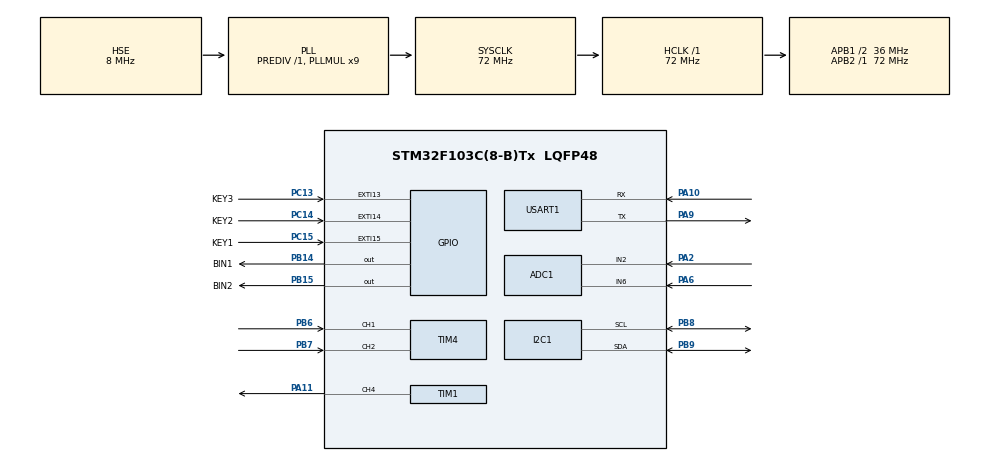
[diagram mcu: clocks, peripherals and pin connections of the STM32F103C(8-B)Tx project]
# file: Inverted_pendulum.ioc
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ADC1.Channel-0\#ChannelRegularConversion=ADC_CHANNEL_2
ADC1.Channel-1\#ChannelRegularConversion=ADC_CHANNEL_6
ADC1.ContinuousConvMode=ENABLE
ADC1.NbrOfConversion=2
ADC1.NbrOfConversionFlag=1
ADC1.Rank-0\#ChannelRegularConversion=1
ADC1.Rank-1\#ChannelRegularConversion=2
ADC1.SamplingTime-0\#ChannelRegularConversion=ADC_SAMPLETIME_55CYCLES_5
ADC1.SamplingTime-1\#ChannelRegularConversion=ADC_SAMPLETIME_55CYCLES_5
ADC1.master=1
Dma.ADC1.0.Direction=DMA_PERIPH_TO_MEMORY
Dma.ADC1.0.Instance=DMA1_Channel1
Dma.ADC1.0.MemDataAlignment=DMA_MDATAALIGN_HALFWORD
Dma.ADC1.0.MemInc=DMA_MINC_ENABLE
Dma.ADC1.0.Mode=DMA_CIRCULAR
Dma.ADC1.0.PeriphDataAlignment=DMA_PDATAALIGN_HALFWORD
Dma.ADC1.0.PeriphInc=DMA_PINC_DISABLE
Dma.ADC1.0.Priority=DMA_PRIORITY_LOW
Dma.Request0=ADC1
I2C1.I2C_Mode=I2C_Fast
Mcu.Family=STM32F1
Mcu.Name=STM32F103C(8-B)Tx
Mcu.Package=LQFP48
NVIC.DMA1_Channel1_IRQn=true\:0\:0\:false\:false\:true\:false\:true\:true
NVIC.EXTI15_10_IRQn=true\:0\:0\:false\:false\:true\:true\:true\:true
NVIC.PriorityGroup=NVIC_PRIORITYGROUP_4
NVIC.TIM3_IRQn=true\:0\:0\:false\:false\:true\:true\:true\:true
NVIC.USART1_IRQn=true\:0\:0\:false\:false\:true\:true\:true\:true
PA10.Mode=Asynchronous
PA10.Signal=USART1_RX
PA11.Signal=S_TIM1_CH4
PA13.Mode=Serial_Wire
PA13.Signal=SYS_JTMS-SWDIO
PA14.Mode=Serial_Wire
PA14.Signal=SYS_JTCK-SWCLK
PA2.Signal=ADCx_IN2
PA6.Signal=ADCx_IN6
PA9.Mode=Asynchronous
PA9.Signal=USART1_TX
PB14.GPIO_Label=BIN1
PB14.Signal=GPIO_Output
PB15.GPIO_Label=BIN2
PB15.Signal=GPIO_Output
PB6.Signal=S_TIM4_CH1
PB7.Signal=S_TIM4_CH2
PB8.Mode=I2C
PB8.Signal=I2C1_SCL
PB9.Mode=I2C
PB9.Signal=I2C1_SDA
PC13-TAMPER-RTC.GPIO_Label=KEY3
PC13-TAMPER-RTC.GPIO_ModeDefaultEXTI=GPIO_MODE_IT_FALLING
PC13-TAMPER-RTC.GPIO_PuPd=GPIO_PULLUP
PC13-TAMPER-RTC.Signal=GPXTI13
PC14-OSC32_IN.GPIO_Label=KEY2
PC14-OSC32_IN.GPIO_ModeDefaultEXTI=GPIO_MODE_IT_FALLING
PC14-OSC32_IN.GPIO_PuPd=GPIO_PULLUP
PC14-OSC32_IN.Signal=GPXTI14
PC15-OSC32_OUT.GPIO_Label=KEY1
PC15-OSC32_OUT.GPIO_ModeDefaultEXTI=GPIO_MODE_IT_FALLING
PC15-OSC32_OUT.GPIO_PuPd=GPIO_PULLUP
PC15-OSC32_OUT.Signal=GPXTI15
PD0-OSC_IN.Mode=HSE-External-Oscillator
PD0-OSC_IN.Signal=RCC_OSC_IN
PD1-OSC_OUT.Mode=HSE-External-Oscillator
PD1-OSC_OUT.Signal=RCC_OSC_OUT
ProjectManager.HeapSize=0x200
ProjectManager.StackSize=0x400
ProjectManager.TargetToolchain=CMake
RCC.ADCPresc=RCC_ADCPCLK2_DIV6
RCC.AHBFreq_Value=72000000
RCC.APB1CLKDivider=RCC_HCLK_DIV2
RCC.APB1Freq_Value=36000000
RCC.APB1TimFreq_Value=72000000
RCC.APB2Freq_Value=72000000
RCC.APB2TimFreq_Value=72000000
RCC.HCLKFreq_Value=72000000
RCC.PLLMUL=RCC_PLL_MUL9
RCC.PLLSourceVirtual=RCC_PLLSOURCE_HSE
RCC.SYSCLKFreq_VALUE=72000000
RCC.SYSCLKSource=RCC_SYSCLKSOURCE_PLLCLK
RCC.USBFreq_Value=72000000
SH.ADCx_IN2.0=ADC1_IN2,IN2
SH.ADCx_IN6.0=ADC1_IN6,IN6
SH.S_TIM1_CH4.0=TIM1_CH4,PWM Generation4 CH4
SH.S_TIM4_CH1.0=TIM4_CH1,Encoder_Interface
SH.S_TIM4_CH2.0=TIM4_CH2,Encoder_Interface
TIM1.Channel-PWM\ Generation4\ CH4=TIM_CHANNEL_4
TIM1.Period=9999
TIM1.Prescaler=0
TIM3.Period=10000-1
TIM3.Prescaler=72-1
TIM4.EncoderMode=TIM_ENCODERMODE_TI12
USART1.VirtualMode=VM_ASYNC
VP_TIM3_VS_ClockSourceINT.Mode=Internal
board=custom

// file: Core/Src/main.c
/* USER CODE BEGIN Header */
/**
  ******************************************************************************
  * @file           : main.c
  * @brief          : Main program body
  ******************************************************************************
  * @attention
  *
  * Copyright (c) 2026 STMicroelectronics.
  * All rights reserved.
  *
  * This software is licensed under terms that can be found in the LICENSE file
  * in the root directory of this software component.
  * If no LICENSE file comes with this software, it is provided AS-IS.
  *
  ******************************************************************************
  */
/* USER CODE END Header */
#include "main.h"
#include "adc.h"
#include "dma.h"
#include "i2c.h"
#include "tim.h"
#include "usart.h"
#include "gpio.h"

/* USER CODE BEGIN Includes */
#include "oled.h"
#include "motor.h"
#include "key.h"
#include "mode.h"
#include "serial.h"
/* USER CODE END Includes */

/* USER CODE BEGIN PV */
Motor_HandleTypeDef hmotor;
Encoder_HandleTypeDef hencoder;

static int last_mode = -1;           /* 上一次显示的模式，用来判断要不要清屏 */
/* USER CODE END PV */

void SystemClock_Config(void);

/* USER CODE BEGIN 0 */
/* 模式相关的函数都在 mode.c / mode.h 里 */
/* USER CODE END 0 */

int main(void)
{

  /* MCU Configuration--------------------------------------------------------*/

  /* Reset of all peripherals, Initializes the Flash interface and the Systick. */
  HAL_Init();

  /* Configure the system clock */
  SystemClock_Config();

  /* Initialize all configured peripherals */
  MX_GPIO_Init();
  MX_DMA_Init();
  MX_ADC1_Init();
  MX_TIM1_Init();
  MX_TIM4_Init();
  MX_I2C1_Init();
  MX_TIM3_Init();
  MX_USART1_UART_Init();
  /* USER CODE BEGIN 2 */
  Serial_Init();                  /* 使能 USART1 的 RXNE/IDLE 中断，接收 VOFA+ 下发数据 */

  OLED_Init();
  OLED_Clear();

  Motor_Init(&hmotor, &htim1, TIM_CHANNEL_4, MOTOR_B);   /* PWM 在 PA11=PWMB，方向用 BIN1/BIN2，与 .ioc 配置一致 */
  Motor_Stop(&hmotor);            /* 上电先停住 */

  Encoder_Init(&hencoder, &htim4, ENCODER_A);   /* TIM4 接编码器 */

  Potentiometer_Init(&hadc1);     /* 电位器接在 ADC1 上 */
  ADC_Start();                    /* 启动双通道 DMA 循环采集 */
  HAL_TIM_Base_Start_IT(&htim3);  /* 启动 TIM3 更新中断，100Hz 控制环跑在 mode.c 的 HAL_TIM_PeriodElapsedCallback 里 */
  /* USER CODE END 2 */

  /* Infinite loop */
  /* USER CODE BEGIN WHILE */
  while (1)
  {
    Serial_ProcessData();       /* 处理蓝牙/串口下发的 PID 调参命令 */

    if (mode != last_mode)        /* 换了模式就清一次屏 */
    {
      last_mode = mode;
      OLED_Clear();
    }

    switch (mode)
    {
      case 0:  Mode_Select();        break;   /* 模式选择 */
      case 1:  Mode_1();             break;
      case 2:  Mode_2();             break;
      case 3:  Mode_3();             break;
      case 4:  Mode_4();             break;
      case 5:  Mode_5();             break;
      default: mode = MODE_SELECT;   break;
    }
    /* USER CODE END WHILE */

  }
}

void SystemClock_Config(void)
{
  RCC_OscInitTypeDef RCC_OscInitStruct = {0};
  RCC_ClkInitTypeDef RCC_ClkInitStruct = {0};
  RCC_PeriphCLKInitTypeDef PeriphClkInit = {0};

  /** Initializes the RCC Oscillators according to the specified parameters
  * in the RCC_OscInitTypeDef structure.
  */
  RCC_OscInitStruct.OscillatorType = RCC_OSCILLATORTYPE_HSE;
  RCC_OscInitStruct.HSEState = RCC_HSE_ON;
  RCC_OscInitStruct.HSEPredivValue = RCC_HSE_PREDIV_DIV1;
  RCC_OscInitStruct.HSIState = RCC_HSI_ON;
  RCC_OscInitStruct.PLL.PLLState = RCC_PLL_ON;
  RCC_OscInitStruct.PLL.PLLSource = RCC_PLLSOURCE_HSE;
  RCC_OscInitStruct.PLL.PLLMUL = RCC_PLL_MUL9;
  if (HAL_RCC_OscConfig(&RCC_OscInitStruct) != HAL_OK)
  {
    Error_Handler();
  }

  /** Initializes the CPU, AHB and APB buses clocks
  */
  RCC_ClkInitStruct.ClockType = RCC_CLOCKTYPE_HCLK|RCC_CLOCKTYPE_SYSCLK
                              |RCC_CLOCKTYPE_PCLK1|RCC_CLOCKTYPE_PCLK2;
  RCC_ClkInitStruct.SYSCLKSource = RCC_SYSCLKSOURCE_PLLCLK;
  RCC_ClkInitStruct.AHBCLKDivider = RCC_SYSCLK_DIV1;
  RCC_ClkInitStruct.APB1CLKDivider = RCC_HCLK_DIV2;
  RCC_ClkInitStruct.APB2CLKDivider = RCC_HCLK_DIV1;

  if (HAL_RCC_ClockConfig(&RCC_ClkInitStruct, FLASH_LATENCY_2) != HAL_OK)
  {
    Error_Handler();
  }
  PeriphClkInit.PeriphClockSelection = RCC_PERIPHCLK_ADC;
  PeriphClkInit.AdcClockSelection = RCC_ADCPCLK2_DIV6;
  if (HAL_RCCEx_PeriphCLKConfig(&PeriphClkInit) != HAL_OK)
  {
    Error_Handler();
  }
}

void Error_Handler(void)
{
  __disable_irq();
  while (1)
  {
  }
}
